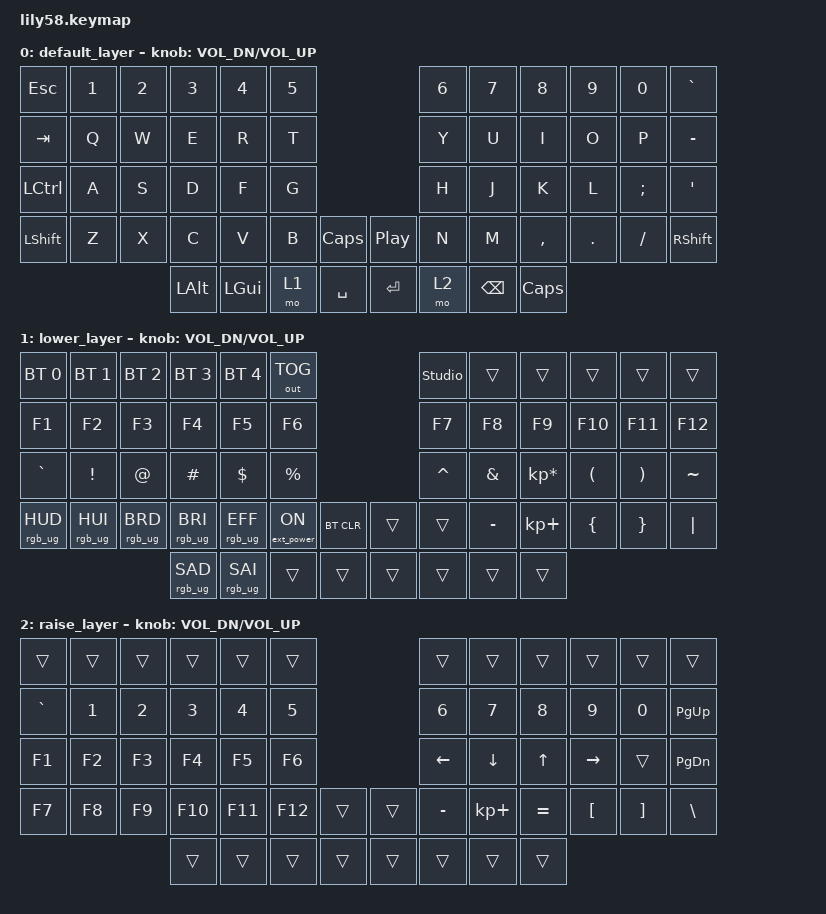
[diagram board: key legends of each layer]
/*
 * Copyright (c) 2020 The ZMK Contributors
 *
 * SPDX-License-Identifier: MIT
 */

#include <behaviors.dtsi>
#include <dt-bindings/zmk/keys.h>
#include <dt-bindings/zmk/bt.h>
#include <dt-bindings/led/led.h>
#include <dt-bindings/zmk/ext_power.h>
#include <dt-bindings/zmk/rgb.h>
#include <dt-bindings/zmk/outputs.h>

&led_strip {
    chain-length = <35>;
};

/ {
	keymap {
		compatible = "zmk,keymap";

		default_layer {
// ------------------------------------------------------------------------------------------------------------
// |  ESC  |  1  |  2  |  3   |  4     |  5    |                   |  6   |  7     |  8    |  9   |   0   |   `   |
// |  TAB  |  Q  |  W  |  E   |  R     |  T    |                   |  Y   |  U     |  I    |  O   |   P   |   -   |
// |  CTRL |  A  |  S  |  D   |  F     |  G    |                   |  H   |  J     |  K    |  L   |   ;   |   '   |
// | SHIFT |  Z  |  X  |  C   |  V     |  B    | "CAPS" |  |  "]"  |  N   |  M     |  ,    |  .   |   /   | SHIFT |
//                     | ALT  |  GUI   | LOWER | SPACE  |  | ENTER | BSPC |  RAISE | CAPS  |
			bindings = <
&kp ESC   &kp N1 &kp N2 &kp N3   &kp N4   &kp N5                     	&kp N6 	&kp N7   &kp N8    &kp N9  &kp N0   &kp GRAVE
&kp TAB   &kp Q  &kp W  &kp E    &kp R    &kp T                      	&kp Y  	&kp U    &kp I     &kp O   &kp P    &kp MINUS
&kp LCTRL &kp A  &kp S  &kp D    &kp F    &kp G                      	&kp H  	&kp J    &kp K     &kp L   &kp SEMI &kp SQT
&kp LSHFT &kp Z  &kp X  &kp C    &kp V    &kp B  	&kp CAPS   &kp C_PP &kp N  	&kp M    &kp COMMA &kp DOT &kp FSLH &kp RSHFT
                        &kp LALT &kp LGUI &mo 1	  &kp SPACE  &kp RET	&mo 2 	&kp BSPC &kp CAPS
			>;

			// sensor-bindings = <&inc_dec_kp C_VOL_UP C_VOL_DN &inc_dec_kp C_VOL_UP C_VOL_DN>;
			sensor-bindings = <&inc_dec_kp C_VOL_DN C_VOL_UP>;
		};

		lower_layer {
// ------------------------------------------------------------------------------------------------------------
// | BTCLR | BT1 | BT2 |  BT3 |  BT4 |  TOG |                   |STUDI |       |       |      |       |       |
// |  F1   |  F2 |  F3 |  F4  |  F5  |  F6  |                   |  F7  |  F8   |  F9   |  F10 |  F11  |  F12  |
// |   `   |  !  |  @  |  #   |  $   |  %   |                   |  ^   |  &    |  *    |  (   |   )   |   ~   |
// |       |     |     |      |      |      |        |  |       |      |  _    |  +    |  {   |   }   |  "|"  |
//                     |      |      |      |        |  |       |      |       |       |
			bindings = <
&bt BT_SEL 0    &bt BT_SEL 1    &bt BT_SEL 2    &bt BT_SEL 3    &bt BT_SEL 4    &out OUT_TOG                    		&studio_unlock &trans    &trans          &trans   &trans   &trans
&kp F1          &kp F2          &kp F3          &kp F4          &kp F5          &kp F6                          		&kp F7    &kp F8    &kp F9          &kp F10  &kp F11  &kp F12
&kp GRAVE       &kp EXCL        &kp AT          &kp HASH        &kp DOLLAR      &kp PRCNT                       		&kp CARET &kp AMPS  &kp KP_MULTIPLY &kp LPAR &kp RPAR &kp TILDE
&rgb_ug RGB_HUD &rgb_ug RGB_HUI &rgb_ug RGB_BRD &rgb_ug RGB_BRI &rgb_ug RGB_EFF	&ext_power EP_ON  &bt BT_CLR &trans &trans    &kp MINUS &kp KP_PLUS     &kp LBRC &kp RBRC &kp PIPE
                                &rgb_ug RGB_SAD &rgb_ug RGB_SAI &trans          &trans    				&trans 		 &trans &trans    &trans
			>;

			sensor-bindings = <&inc_dec_kp C_VOL_DN C_VOL_UP>;
		};

		raise_layer {
// ------------------------------------------------------------------------------------------------------------
// |       |     |     |      |      |      |                   |      |       |       |      |       |       |
// |   `   |  1  |  2  |  3   |  4   |  5   |                   |  6   |   7   |   8   |  9   |   0   | PG_UP |
// |   F1  |  F2 |  F3 |  F4  |  F5  |  F6  |                   |  <-  |   v   |   ^   |  ->  |       | PG_DN |
// |   F7  |  F8 |  F9 |  F10 |  F11 |  F12 |        |  |       |  -   |   +   |   =   |  [   |   ]   |   \   |
//                     |      |      |      |        |  |       |      |       |       |
			bindings = <
&trans    &trans &trans &trans  &trans  &trans                &trans    &trans    	&trans    &trans    &trans   &trans
&kp GRAVE &kp N1 &kp N2 &kp N3  &kp N4  &kp N5                &kp N6    &kp N7    	&kp N8    &kp N9    &kp N0   &kp PG_UP
&kp F1    &kp F2 &kp F3 &kp F4  &kp F5  &kp F6                &kp LEFT  &kp DOWN  	&kp UP    &kp RIGHT &trans   &kp PG_DN
&kp F7    &kp F8 &kp F9 &kp F10 &kp F11 &kp F12 &trans &trans &kp MINUS &kp KP_PLUS &kp EQUAL &kp LBKT 	&kp RBKT &kp BSLH
                        &trans  &trans  &trans  &trans &trans &trans    &trans    	&trans
			>;

			sensor-bindings = <&inc_dec_kp C_VOL_DN C_VOL_UP>;
		};
	};
};
